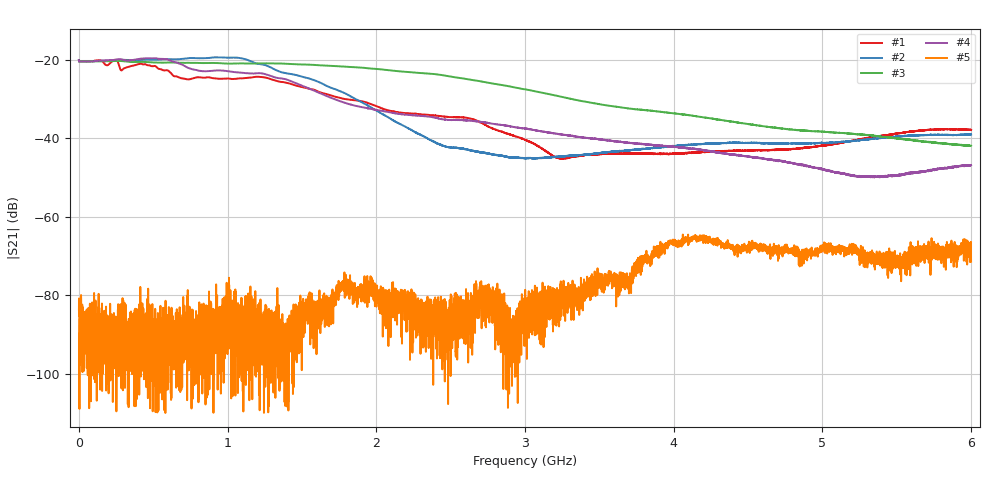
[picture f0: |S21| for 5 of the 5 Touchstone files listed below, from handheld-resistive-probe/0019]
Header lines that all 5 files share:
! Ref Plane: 0.000 mm
# MHZ S MA R  50
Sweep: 300 kHz to 6 GHz
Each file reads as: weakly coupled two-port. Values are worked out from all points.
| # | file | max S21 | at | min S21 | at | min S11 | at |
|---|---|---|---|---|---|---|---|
| 1 | flexground.s2p | -20.02 dB | 244.5 MHz | -45.3 dB | 3.25 GHz | -26.4 dB | 900 kHz |
| 2 | leafground.s2p | -19.39 dB | 933.9 MHz | -45.2 dB | 3.06 GHz | -26.4 dB | 900 kHz |
| 3 | tipground.s2p | -20.09 dB | 300 kHz | -42.0 dB | 5.994 GHz | -26.5 dB | 300 kHz |
| 4 | zground.s2p | -19.63 dB | 509.1 MHz | -50.0 dB | 5.349 GHz | -32.5 dB | 6 GHz |
| 5 | zin.s2p | -64.57 dB | 4.061 GHz | -110.0 dB | 581.7 MHz | -5.7 dB | 2.671 GHz |
